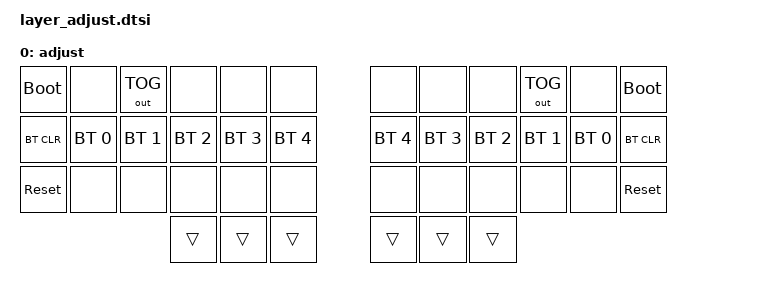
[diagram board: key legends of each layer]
/**
 * Adjust Layer
 */

/ {
    keymap {
        compatible = "zmk,keymap";

        adjust_layer {
            display-name = "adjust";
            bindings = <
// ╭───────────────┬───────────────┬───────────────┬───────────────┬───────────────┬───────────────╮   ╭───────────────┬───────────────┬───────────────┬───────────────┬───────────────┬───────────────╮
// │0              │1              │2              │3              │4              │5              │   │6              │7              │8              │9              │10             │11             │
    &bootloader     &none           &out OUT_TOG    &none           &none           &none               &none           &none           &none           &out OUT_TOG    &none           &bootloader
// ├───────────────├───────────────┼───────────────┼───────────────┼───────────────┼───────────────┤   ├───────────────├───────────────┼───────────────┼───────────────┼───────────────┼───────────────┤
// │12             │13             │14             │15             │16             │17             │   │18             │19             │20             │21             │22             │23             │
    &bt BT_CLR      &bt BT_SEL 0    &bt BT_SEL 1    &bt BT_SEL 2    &bt BT_SEL 3    &bt BT_SEL 4        &bt BT_SEL 4    &bt BT_SEL 3    &bt BT_SEL 2    &bt BT_SEL 1    &bt BT_SEL 0    &bt BT_CLR
// ├───────────────├───────────────┼───────────────┼───────────────┼───────────────┼───────────────┤   ├───────────────├───────────────┼───────────────┼───────────────┼───────────────┼───────────────┤
// │24             │25             │26             │27             │28             │29             │   │30             │31             │32             │33             │34             │35             │
    &sys_reset      &none           &none           &none           &none           &none               &none           &none           &none           &none           &none           &sys_reset
// ╰───────────────┴───────────────┴───────────────┼───────────────┼───────────────┼───────────────┤   ├───────────────├───────────────┼───────────────┼───────────────┴───────────────┴───────────────╯
//                                                 │36             │37             │38             │   │39             │40             │41             │
                                                    &trans          &trans          &trans              &trans          &trans          &trans
//                                                 ╰───────────────┴───────────────┴───────────────╯   ╰───────────────┴───────────────┴───────────────╯
            >;
        };
    };
};
